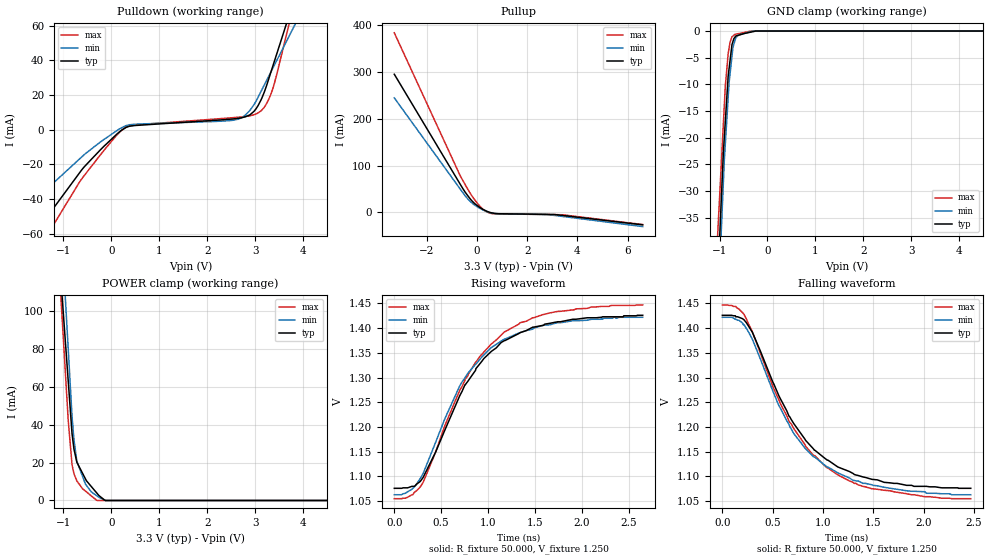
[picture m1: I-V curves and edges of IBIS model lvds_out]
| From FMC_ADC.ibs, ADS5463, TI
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[Model]   lvds_out
Model_type Output
Vref=1.250E+00
Rref=5.000E+01
Cref=0.000E+00
Vmeas=1.250E+00
C_comp   5.750E-13   5.750E-13   5.750E-13
[Voltage Range]   3.300E+00   3.000E+00   3.600E+00
[POWER Clamp Reference]   3.300E+00   3.000E+00   3.600E+00
[GND Clamp Reference]   0.000E+00   0.000E+00   0.000E+00
[Pullup Reference]   3.300E+00   3.000E+00   3.600E+00
[Pulldown Reference]   0.000E+00   0.000E+00   0.000E+00
[Temperature Range]   25   85   -40
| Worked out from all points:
|   slope of the pulldown table from 0 to 0.495 V, typ, clamps not added: 62.3 ohm
|   slope of the pullup table from 0 to 0.495 V, typ, clamps not added: 34.6 ohm
|   GND clamp passes 1 mA (typ) near -0.67 V on its own axis
|   POWER clamp passes 1 mA (typ) near -0.18 V on its own axis
|   rising waveform, R_fixture 50.000, V_fixture 1.250: 20-80 % time 625ps typ, 611ps min, 633ps max; typ from 1.08 V to 1.43 V
|   falling waveform, R_fixture 50.000, V_fixture 1.250: 20-80 % time 589ps typ, 592ps min, 618ps max; typ from 1.43 V to 1.08 V
[GND Clamp]
-3.6V     -572.9mA   -589.2mA   -487.5mA
-3V       -449.8mA   -463.6mA   -382.2mA
-920mV    -22.85mA   -28.49mA   -17.46mA
-880mV    -17.11mA   -21.37mA   -10.45mA
-820mV    -8.505mA   -12.58mA   -4.285mA
-800mV    -7.013mA   -9.643mA   -3.185mA
-740mV    -2.537mA   -4.72mA    -1.089mA
-720mV    -1.974mA   -3.079mA   -937.9uA
-680mV    -1.171mA   -1.846mA   -635.1uA
-600mV    -773.6uA   -744.8uA   -485.7uA
-300mV    -114.9uA   0A         0A
7.2V      0A         0A         0A
[POWER Clamp]
-3.9V     1.11A      1.418A     1.314A
-1.06V    118.9mA    151.2mA    110.1mA
-900mV    63.05mA    79.93mA    42.28mA
-820mV    35.13mA    44.28mA    18.78mA
-780mV    27.06mA    31.92mA    14.06mA
-720mV    20.13mA    20.69mA    10.31mA
-600mV    14.29mA    12.64mA    6.161mA
-540mV    11.36mA    8.609mA    4.929mA
-420mV    7.4mA      4.593mA    2.464mA
-300mV    3.814mA    2.407mA    13.88uA
-130mV    0A         109.5uA    0A
6.9V      0A         0A         0A
[Pullup]
-3.3V     294.8mA    244.3mA    383.1mA
-680mV    60.74mA    50.34mA    79.07mA
-420mV    39.13mA    31.77mA    53.95mA
-200mV    24.33mA    19.94mA    34.66mA
80mV      11.61mA    9.586mA    15.06mA
280mV     5.195mA    4.064mA    4.892mA
460mV     1.02mA     117.7uA    -657.3uA
640mV     -1.534mA   -2.074mA   -2.761mA
2.8V      -4.191mA   -4.545mA   -4.458mA
3.4V      -6.395mA   -8.558mA   -5.006mA
6.6V      -26.52mA   -30.22mA   -25.85mA
[Pulldown]
-3.3V     -123.6mA   -83.8mA    -149.9mA
-1.02V    -38.2mA    -25.9mA    -46.34mA
-560mV    -21.24mA   -14.22mA   -26.22mA
100mV     -2.912mA   -815.3uA   -3.547mA
320mV     1.471mA    2.465mA    1.663mA
2.52V     6.143mA    5.369mA    6.894mA
2.88V     8.433mA    10.79mA    7.987mA
3.06V     13.87mA    18.68mA    9.644mA
3.2V      22.44mA    26.32mA    13.37mA
3.32V     32.53mA    32.84mA    19.92mA
3.46V     44.57mA    40.45mA    33.02mA
6.6V      314.6mA    211.1mA    388.3mA
[Rising Waveform]
R_fixture = 50.000
V_fixture = 1.250
V_fixture_min = 1.250
V_fixture_max = 1.250
|  time   V(typ)   V(min)   V(max)
0s        1.076V     1.063V     1.055V
187.5ps   1.08V      1.074V     1.063V
277.5ps   1.09V      1.096V     1.079V
442.5ps   1.15V      1.17V      1.15V
537.5ps   1.193V     1.216V     1.202V
725ps     1.273V     1.292V     1.283V
917.5ps   1.329V     1.338V     1.344V
1.177ns   1.375V     1.378V     1.393V
1.717ns   1.412V     1.41V      1.433V
2.65ns    1.426V     1.422V     1.447V
[Falling Waveform]
R_fixture = 50.000
V_fixture = 1.250
V_fixture_min = 1.250
V_fixture_max = 1.250
|  time   V(typ)   V(min)   V(max)
0s        1.426V     1.422V     1.447V
132.5ps   1.423V     1.418V     1.444V
242.5ps   1.41V      1.398V     1.417V
297.5ps   1.392V     1.378V     1.393V
507.5ps   1.288V     1.27V      1.279V
672.5ps   1.22V      1.2V       1.209V
827.5ps   1.173V     1.156V     1.161V
1.043ns   1.133V     1.119V     1.117V
1.49ns    1.094V     1.083V     1.075V
2.47ns    1.076V     1.063V     1.055V
[Ramp]
dV/dt_r   2.6026E+00/4.4370E-10   2.4232E+00/5.2280E-10   2.7828E+00/4.1440E-10
dV/dt_f   2.6023E+00/5.8967E-10   2.4228E+00/5.7637E-10   2.7824E+00/6.0701E-10
R_load = 50
